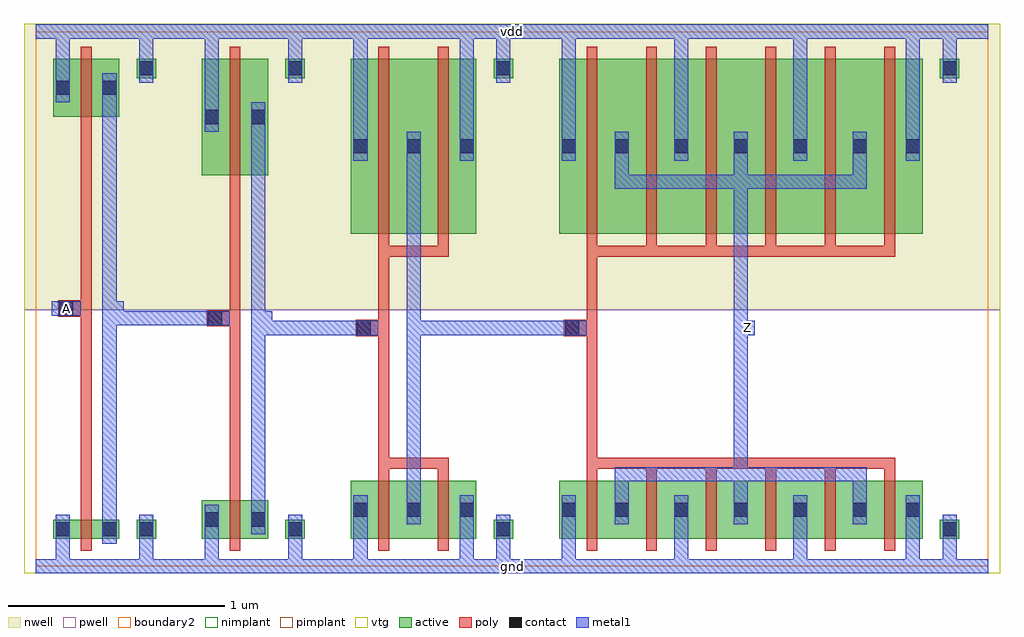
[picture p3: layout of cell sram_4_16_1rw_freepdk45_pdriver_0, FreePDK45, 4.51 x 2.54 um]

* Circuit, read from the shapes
.subckt sram_4_16_1rw_freepdk45_pdriver_0 A Z gnd vdd
M1 sram_4_16_1rw_freepdk45_pinv_6_1/A A gnd gnd nfet w=0.09u l=0.05u
M2 sram_4_16_1rw_freepdk45_pinv_7_2/A sram_4_16_1rw_freepdk45_pinv_6_1/A gnd gnd nfet w=0.18u l=0.05u
M3 sram_4_16_1rw_freepdk45_pinv_8_3/A sram_4_16_1rw_freepdk45_pinv_7_2/A gnd gnd nfet w=0.27u l=0.05u m=2
M4 Z sram_4_16_1rw_freepdk45_pinv_8_3/A gnd gnd nfet w=0.27u l=0.05u m=6
M5 sram_4_16_1rw_freepdk45_pinv_6_1/A A vdd vdd pfet w=0.27u l=0.05u
M6 sram_4_16_1rw_freepdk45_pinv_7_2/A sram_4_16_1rw_freepdk45_pinv_6_1/A vdd vdd pfet w=0.54u l=0.05u
M7 sram_4_16_1rw_freepdk45_pinv_8_3/A sram_4_16_1rw_freepdk45_pinv_7_2/A vdd vdd pfet w=0.81u l=0.05u m=2
M8 Z sram_4_16_1rw_freepdk45_pinv_8_3/A vdd vdd pfet w=0.81u l=0.05u m=6
.ends

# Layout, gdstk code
import gdstk
lib = gdstk.Library(unit=1e-6, precision=5e-10)
def R(c, l, rs):  # rectangles x0, y0, x1, y1
    for r in rs: c.add(gdstk.rectangle(r[:2], r[2:], *l))
def A(c, l, x, y, w, h, nx, ny, dx, dy):  # array of equal rectangles
    R(c, l, [(x+i*dx, y+j*dy, x+i*dx+w, y+j*dy+h) for i in range(nx) for j in range(ny)])
active = (1, 0)
pwell = (2, 0)
nwell = (3, 0)
nimplant = (4, 0)
pimplant = (5, 0)
vtg = (6, 0)
poly = (9, 0)
contact = (10, 0)
metal1 = (11, 0)
boundary2 = (239, 0)

sram_4_16_1rw_freepdk45_ = lib.new_cell('sram_4_16_1rw_freepdk45_contact_11')
R(sram_4_16_1rw_freepdk45_, active, [(0,0.0225,0.09,0.1125)])
R(sram_4_16_1rw_freepdk45_, nwell, [(-0.055,-0.0325,0.145,0.1675)])
R(sram_4_16_1rw_freepdk45_, pimplant, [(0,0.0225,0.09,0.1125)])
R(sram_4_16_1rw_freepdk45_, contact, [(0.0125,0.035,0.0775,0.1)])
R(sram_4_16_1rw_freepdk45_, metal1, [(0.0125,0,0.0775,0.135)])
R(sram_4_16_1rw_freepdk45_, boundary2, [(-0.055,-0.0325,0.145,0.1675)])

c_sram_4_16_1rw_freepdk45_ = lib.new_cell('sram_4_16_1rw_freepdk45_pmos_m1_w0_270_sm1_dm1_da_p')
R(c_sram_4_16_1rw_freepdk45_, active, [(0,0,0.305,0.27)])
R(c_sram_4_16_1rw_freepdk45_, nwell, [(-0.08,-0.08,0.385,0.35)])
R(c_sram_4_16_1rw_freepdk45_, pimplant, [(0,0,0.305,0.27)])
R(c_sram_4_16_1rw_freepdk45_, vtg, [(-0.08,-0.08,0.385,0.35)])
R(c_sram_4_16_1rw_freepdk45_, poly, [(0.1275,-0.055,0.1775,0.325), (0.1275,-0.055,0.1775,0.325)])
R(c_sram_4_16_1rw_freepdk45_, metal1, [(0.0125,0.0675,0.0775,0.2025), (0.2275,0.0675,0.2925,0.2025)])
R(c_sram_4_16_1rw_freepdk45_, boundary2, [(-0.08,-0.08,0.385,0.35)])
c_sram_4_16_1rw_freepdk45_.add(gdstk.Reference(sram_4_16_1rw_freepdk45_, (0,0.0675)))
c_sram_4_16_1rw_freepdk45_.add(gdstk.Reference(sram_4_16_1rw_freepdk45_, (0.215,0.0675)))
c_sram_4_16_1rw_freepdk45_.add(gdstk.Label('G', (0.1525,0.135), layer=9, texttype=0))
c_sram_4_16_1rw_freepdk45_.add(gdstk.Label('S', (0.045,0.135), layer=11, texttype=0))
c_sram_4_16_1rw_freepdk45_.add(gdstk.Label('D', (0.26,0.135), layer=11, texttype=0))

c_sram_4_16_1rw_freepdk45__ = lib.new_cell('sram_4_16_1rw_freepdk45_contact_10')
R(c_sram_4_16_1rw_freepdk45__, active, [(0,0.0225,0.09,0.1125)])
R(c_sram_4_16_1rw_freepdk45__, pwell, [(-0.055,-0.0325,0.145,0.1675)])
R(c_sram_4_16_1rw_freepdk45__, nimplant, [(0,0.0225,0.09,0.1125)])
R(c_sram_4_16_1rw_freepdk45__, contact, [(0.0125,0.035,0.0775,0.1)])
R(c_sram_4_16_1rw_freepdk45__, metal1, [(0.0125,0,0.0775,0.135)])
R(c_sram_4_16_1rw_freepdk45__, boundary2, [(-0.055,-0.0325,0.145,0.1675)])

c_sram_4_16_1rw_freepdk45___ = lib.new_cell('sram_4_16_1rw_freepdk45_nmos_m1_w0_090_sm1_dm1_da_p')
R(c_sram_4_16_1rw_freepdk45___, active, [(0,0,0.305,0.09)])
R(c_sram_4_16_1rw_freepdk45___, pwell, [(-0.08,-0.08,0.385,0.17)])
R(c_sram_4_16_1rw_freepdk45___, nimplant, [(0,0,0.305,0.09)])
R(c_sram_4_16_1rw_freepdk45___, vtg, [(-0.08,-0.08,0.385,0.17)])
R(c_sram_4_16_1rw_freepdk45___, poly, [(0.1275,-0.055,0.1775,0.145), (0.1275,-0.055,0.1775,0.145)])
R(c_sram_4_16_1rw_freepdk45___, metal1, [(0.0125,-0.0225,0.0775,0.1125), (0.2275,-0.0225,0.2925,0.1125)])
R(c_sram_4_16_1rw_freepdk45___, boundary2, [(-0.08,-0.08,0.385,0.17)])
c_sram_4_16_1rw_freepdk45___.add(gdstk.Reference(c_sram_4_16_1rw_freepdk45__, (0,-0.0225)))
c_sram_4_16_1rw_freepdk45___.add(gdstk.Reference(c_sram_4_16_1rw_freepdk45__, (0.215,-0.0225)))
c_sram_4_16_1rw_freepdk45___.add(gdstk.Label('G', (0.1525,0.045), layer=9, texttype=0))
c_sram_4_16_1rw_freepdk45___.add(gdstk.Label('S', (0.045,0.045), layer=11, texttype=0))
c_sram_4_16_1rw_freepdk45___.add(gdstk.Label('D', (0.26,0.045), layer=11, texttype=0))

c_sram_4_16_1rw_freepdk45____ = lib.new_cell('sram_4_16_1rw_freepdk45_contact_12')
R(c_sram_4_16_1rw_freepdk45____, active, [(0,0.0225,0.09,0.1125)])
R(c_sram_4_16_1rw_freepdk45____, nwell, [(-0.055,-0.0325,0.145,0.1675)])
R(c_sram_4_16_1rw_freepdk45____, nimplant, [(0,0.0225,0.09,0.1125)])
R(c_sram_4_16_1rw_freepdk45____, contact, [(0.0125,0.035,0.0775,0.1)])
R(c_sram_4_16_1rw_freepdk45____, metal1, [(0.0125,0,0.0775,0.135)])
R(c_sram_4_16_1rw_freepdk45____, boundary2, [(-0.055,-0.0325,0.145,0.1675)])

c_sram_4_16_1rw_freepdk45_____ = lib.new_cell('sram_4_16_1rw_freepdk45_contact_13')
R(c_sram_4_16_1rw_freepdk45_____, active, [(0,0.0225,0.09,0.1125)])
R(c_sram_4_16_1rw_freepdk45_____, pwell, [(-0.055,-0.0325,0.145,0.1675)])
R(c_sram_4_16_1rw_freepdk45_____, pimplant, [(0,0.0225,0.09,0.1125)])
R(c_sram_4_16_1rw_freepdk45_____, contact, [(0.0125,0.035,0.0775,0.1)])
R(c_sram_4_16_1rw_freepdk45_____, metal1, [(0.0125,0,0.0775,0.135)])
R(c_sram_4_16_1rw_freepdk45_____, boundary2, [(-0.055,-0.0325,0.145,0.1675)])

c_sram_4_16_1rw_freepdk45______ = lib.new_cell('sram_4_16_1rw_freepdk45_contact_14')
R(c_sram_4_16_1rw_freepdk45______, poly, [(0.03,0,0.105,0.075)])
R(c_sram_4_16_1rw_freepdk45______, contact, [(0.035,0.005,0.1,0.07)])
R(c_sram_4_16_1rw_freepdk45______, metal1, [(0,0.005,0.135,0.07)])
R(c_sram_4_16_1rw_freepdk45______, boundary2, [(0,0,0.135,0.075)])

c_sram_4_16_1rw_freepdk45_______ = lib.new_cell('sram_4_16_1rw_freepdk45_pinv_5')
R(c_sram_4_16_1rw_freepdk45_______, pwell, [(-0.055,-0.0325,0.7425,1.185)])
R(c_sram_4_16_1rw_freepdk45_______, nwell, [(-0.055,1.185,0.7425,2.505)])
R(c_sram_4_16_1rw_freepdk45_______, vtg, [(-0.055,-0.0325,0.7425,1.185), (-0.055,1.185,0.7425,2.505)])
R(c_sram_4_16_1rw_freepdk45_______, poly, [(0.2075,0.27,0.2575,2.02), (0.14,1.1525,0.2075,1.2275)])
R(c_sram_4_16_1rw_freepdk45_______, metal1, [(0,-0.0325,0.6875,0.0325), (0.0925,-0.0325,0.1575,0.1025), (0.4775,0,0.5425,0.17), (0.3075,0.1025,0.3725,2.2775), (0.0725,1.1575,0.2075,1.2225), (0.34,1.1575,0.405,1.2225), (0.0925,2.1425,0.1575,2.5025), (0.4775,2.3,0.5425,2.47), (0,2.4375,0.6875,2.5025)])
R(c_sram_4_16_1rw_freepdk45_______, boundary2, [(0,0,0.6875,2.47), (0,0,0.6875,2.47)])
c_sram_4_16_1rw_freepdk45_______.add(gdstk.Reference(c_sram_4_16_1rw_freepdk45_, (0.08,2.075)))
c_sram_4_16_1rw_freepdk45_______.add(gdstk.Reference(c_sram_4_16_1rw_freepdk45___, (0.08,0.125)))
c_sram_4_16_1rw_freepdk45_______.add(gdstk.Reference(c_sram_4_16_1rw_freepdk45____, (0.465,2.2325)))
c_sram_4_16_1rw_freepdk45_______.add(gdstk.Reference(c_sram_4_16_1rw_freepdk45_____, (0.465,0.1025)))
c_sram_4_16_1rw_freepdk45_______.add(gdstk.Reference(c_sram_4_16_1rw_freepdk45______, (0.0725,1.1525)))
c_sram_4_16_1rw_freepdk45_______.add(gdstk.Label('A', (0.14,1.19), layer=11, texttype=0))
c_sram_4_16_1rw_freepdk45_______.add(gdstk.Label('Z', (0.3725,1.19), layer=11, texttype=0))
c_sram_4_16_1rw_freepdk45_______.add(gdstk.Label('gnd', (0.344,0), layer=11, texttype=0))
c_sram_4_16_1rw_freepdk45_______.add(gdstk.Label('vdd', (0.344,2.47), layer=11, texttype=0))

c_sram_4_16_1rw_freepdk45________ = lib.new_cell('sram_4_16_1rw_freepdk45_pmos_m1_w0_540_sm1_dm1_da_p')
R(c_sram_4_16_1rw_freepdk45________, active, [(0,0,0.305,0.54)])
R(c_sram_4_16_1rw_freepdk45________, nwell, [(-0.08,-0.08,0.385,0.62)])
R(c_sram_4_16_1rw_freepdk45________, pimplant, [(0,0,0.305,0.54)])
R(c_sram_4_16_1rw_freepdk45________, vtg, [(-0.08,-0.08,0.385,0.62)])
R(c_sram_4_16_1rw_freepdk45________, poly, [(0.1275,-0.055,0.1775,0.595), (0.1275,-0.055,0.1775,0.595)])
R(c_sram_4_16_1rw_freepdk45________, metal1, [(0.0125,0.2025,0.0775,0.3375), (0.2275,0.2025,0.2925,0.3375)])
R(c_sram_4_16_1rw_freepdk45________, boundary2, [(-0.08,-0.08,0.385,0.62)])
c_sram_4_16_1rw_freepdk45________.add(gdstk.Reference(sram_4_16_1rw_freepdk45_, (0,0.2025)))
c_sram_4_16_1rw_freepdk45________.add(gdstk.Reference(sram_4_16_1rw_freepdk45_, (0.215,0.2025)))
c_sram_4_16_1rw_freepdk45________.add(gdstk.Label('G', (0.1525,0.27), layer=9, texttype=0))
c_sram_4_16_1rw_freepdk45________.add(gdstk.Label('S', (0.045,0.27), layer=11, texttype=0))
c_sram_4_16_1rw_freepdk45________.add(gdstk.Label('D', (0.26,0.27), layer=11, texttype=0))

c_sram_4_16_1rw_freepdk45_________ = lib.new_cell('sram_4_16_1rw_freepdk45_nmos_m1_w0_180_sm1_dm1_da_p')
R(c_sram_4_16_1rw_freepdk45_________, active, [(0,0,0.305,0.18)])
R(c_sram_4_16_1rw_freepdk45_________, pwell, [(-0.08,-0.08,0.385,0.26)])
R(c_sram_4_16_1rw_freepdk45_________, nimplant, [(0,0,0.305,0.18)])
R(c_sram_4_16_1rw_freepdk45_________, vtg, [(-0.08,-0.08,0.385,0.26)])
R(c_sram_4_16_1rw_freepdk45_________, poly, [(0.1275,-0.055,0.1775,0.235), (0.1275,-0.055,0.1775,0.235)])
R(c_sram_4_16_1rw_freepdk45_________, metal1, [(0.0125,0.0225,0.0775,0.1575), (0.2275,0.0225,0.2925,0.1575)])
R(c_sram_4_16_1rw_freepdk45_________, boundary2, [(-0.08,-0.08,0.385,0.26)])
c_sram_4_16_1rw_freepdk45_________.add(gdstk.Reference(c_sram_4_16_1rw_freepdk45__, (0,0.0225)))
c_sram_4_16_1rw_freepdk45_________.add(gdstk.Reference(c_sram_4_16_1rw_freepdk45__, (0.215,0.0225)))
c_sram_4_16_1rw_freepdk45_________.add(gdstk.Label('G', (0.1525,0.09), layer=9, texttype=0))
c_sram_4_16_1rw_freepdk45_________.add(gdstk.Label('S', (0.045,0.09), layer=11, texttype=0))
c_sram_4_16_1rw_freepdk45_________.add(gdstk.Label('D', (0.26,0.09), layer=11, texttype=0))

c_sram_4_16_1rw_freepdk45__________ = lib.new_cell('sram_4_16_1rw_freepdk45_pinv_6')
R(c_sram_4_16_1rw_freepdk45__________, pwell, [(-0.055,-0.0325,0.7425,1.185)])
R(c_sram_4_16_1rw_freepdk45__________, nwell, [(-0.055,1.185,0.7425,2.505)])
R(c_sram_4_16_1rw_freepdk45__________, vtg, [(-0.055,-0.0325,0.7425,1.185), (-0.055,1.185,0.7425,2.505)])
R(c_sram_4_16_1rw_freepdk45__________, poly, [(0.2075,0.36,0.2575,1.75), (0.14,1.1075,0.2075,1.1825)])
R(c_sram_4_16_1rw_freepdk45__________, metal1, [(0,-0.0325,0.6875,0.0325), (0.0925,-0.0325,0.1575,0.1475), (0.4775,0,0.5425,0.17), (0.3075,0.1475,0.3725,2.1425), (0.0725,1.1125,0.2075,1.1775), (0.34,1.1125,0.405,1.1775), (0.0925,2.0075,0.1575,2.5025), (0.4775,2.3,0.5425,2.47), (0,2.4375,0.6875,2.5025)])
R(c_sram_4_16_1rw_freepdk45__________, boundary2, [(0,0,0.6875,2.47), (0,0,0.6875,2.47)])
c_sram_4_16_1rw_freepdk45__________.add(gdstk.Reference(c_sram_4_16_1rw_freepdk45________, (0.08,1.805)))
c_sram_4_16_1rw_freepdk45__________.add(gdstk.Reference(c_sram_4_16_1rw_freepdk45_________, (0.08,0.125)))
c_sram_4_16_1rw_freepdk45__________.add(gdstk.Reference(c_sram_4_16_1rw_freepdk45____, (0.465,2.2325)))
c_sram_4_16_1rw_freepdk45__________.add(gdstk.Reference(c_sram_4_16_1rw_freepdk45_____, (0.465,0.1025)))
c_sram_4_16_1rw_freepdk45__________.add(gdstk.Reference(c_sram_4_16_1rw_freepdk45______, (0.0725,1.1075)))
c_sram_4_16_1rw_freepdk45__________.add(gdstk.Label('A', (0.14,1.145), layer=11, texttype=0))
c_sram_4_16_1rw_freepdk45__________.add(gdstk.Label('Z', (0.3725,1.145), layer=11, texttype=0))
c_sram_4_16_1rw_freepdk45__________.add(gdstk.Label('gnd', (0.344,0), layer=11, texttype=0))
c_sram_4_16_1rw_freepdk45__________.add(gdstk.Label('vdd', (0.344,2.47), layer=11, texttype=0))

c_sram_4_16_1rw_freepdk45___________ = lib.new_cell('sram_4_16_1rw_freepdk45_pmos_m2_w0_810_sm1_dm1_da_p')
R(c_sram_4_16_1rw_freepdk45___________, active, [(0,0,0.58,0.81)])
R(c_sram_4_16_1rw_freepdk45___________, nwell, [(-0.08,-0.08,0.66,0.89)])
R(c_sram_4_16_1rw_freepdk45___________, pimplant, [(0,0,0.58,0.81)])
R(c_sram_4_16_1rw_freepdk45___________, vtg, [(-0.08,-0.08,0.66,0.89)])
R(c_sram_4_16_1rw_freepdk45___________, poly, [(0.1275,-0.105,0.4525,-0.055), (0.1275,-0.055,0.1775,0.865), (0.4025,-0.055,0.4525,0.865)])
A(c_sram_4_16_1rw_freepdk45___________, metal1, 0.0125, 0.3375, 0.065, 0.135, 3, 1, 0.245, 0)
R(c_sram_4_16_1rw_freepdk45___________, boundary2, [(-0.08,-0.105,0.66,0.89)])
c_sram_4_16_1rw_freepdk45___________.add(gdstk.Reference(sram_4_16_1rw_freepdk45_, (0,0.3375)))
c_sram_4_16_1rw_freepdk45___________.add(gdstk.Reference(sram_4_16_1rw_freepdk45_, (0.245,0.3375)))
c_sram_4_16_1rw_freepdk45___________.add(gdstk.Reference(sram_4_16_1rw_freepdk45_, (0.49,0.3375)))
c_sram_4_16_1rw_freepdk45___________.add(gdstk.Label('G', (0.29,-0.08), layer=9, texttype=0))
c_sram_4_16_1rw_freepdk45___________.add(gdstk.Label('S', (0.045,0.405), layer=11, texttype=0))
c_sram_4_16_1rw_freepdk45___________.add(gdstk.Label('S', (0.535,0.405), layer=11, texttype=0))
c_sram_4_16_1rw_freepdk45___________.add(gdstk.Label('D', (0.29,0.405), layer=11, texttype=0))

c_sram_4_16_1rw_freepdk45____________ = lib.new_cell('sram_4_16_1rw_freepdk45_nmos_m2_w0_270_sm1_dm1_da_p')
R(c_sram_4_16_1rw_freepdk45____________, active, [(0,0,0.58,0.27)])
R(c_sram_4_16_1rw_freepdk45____________, pwell, [(-0.08,-0.08,0.66,0.35)])
R(c_sram_4_16_1rw_freepdk45____________, nimplant, [(0,0,0.58,0.27)])
R(c_sram_4_16_1rw_freepdk45____________, vtg, [(-0.08,-0.08,0.66,0.35)])
R(c_sram_4_16_1rw_freepdk45____________, poly, [(0.1275,-0.055,0.1775,0.325), (0.4025,-0.055,0.4525,0.325), (0.1275,0.325,0.4525,0.375)])
A(c_sram_4_16_1rw_freepdk45____________, metal1, 0.0125, 0.0675, 0.065, 0.135, 3, 1, 0.245, 0)
R(c_sram_4_16_1rw_freepdk45____________, boundary2, [(-0.08,-0.08,0.66,0.375)])
c_sram_4_16_1rw_freepdk45____________.add(gdstk.Reference(c_sram_4_16_1rw_freepdk45__, (0,0.0675)))
c_sram_4_16_1rw_freepdk45____________.add(gdstk.Reference(c_sram_4_16_1rw_freepdk45__, (0.245,0.0675)))
c_sram_4_16_1rw_freepdk45____________.add(gdstk.Reference(c_sram_4_16_1rw_freepdk45__, (0.49,0.0675)))
c_sram_4_16_1rw_freepdk45____________.add(gdstk.Label('G', (0.29,0.35), layer=9, texttype=0))
c_sram_4_16_1rw_freepdk45____________.add(gdstk.Label('S', (0.045,0.135), layer=11, texttype=0))
c_sram_4_16_1rw_freepdk45____________.add(gdstk.Label('S', (0.535,0.135), layer=11, texttype=0))
c_sram_4_16_1rw_freepdk45____________.add(gdstk.Label('D', (0.29,0.135), layer=11, texttype=0))

c_sram_4_16_1rw_freepdk45_____________ = lib.new_cell('sram_4_16_1rw_freepdk45_pinv_7')
R(c_sram_4_16_1rw_freepdk45_____________, pwell, [(-0.055,-0.0325,1.0175,1.185)])
R(c_sram_4_16_1rw_freepdk45_____________, nwell, [(-0.055,1.185,1.0175,2.505)])
R(c_sram_4_16_1rw_freepdk45_____________, vtg, [(-0.055,-0.0325,1.0175,1.185), (-0.055,1.185,1.0175,2.505)])
R(c_sram_4_16_1rw_freepdk45_____________, poly, [(0.2075,0.5,0.2575,1.43), (0.14,1.0625,0.2075,1.1375)])
R(c_sram_4_16_1rw_freepdk45_____________, metal1, [(0,-0.0325,0.9625,0.0325), (0.0925,-0.0325,0.1575,0.1925), (0.5825,-0.0325,0.6475,0.1925), (0.7525,0,0.8175,0.17), (0.3375,0.1925,0.4025,2.0075), (0.0725,1.0675,0.2075,1.1325), (0.37,1.0675,0.435,1.1325), (0.0925,1.8725,0.1575,2.5025), (0.5825,1.8725,0.6475,2.5025), (0.7525,2.3,0.8175,2.47), (0,2.4375,0.9625,2.5025)])
R(c_sram_4_16_1rw_freepdk45_____________, boundary2, [(0,0,0.9625,2.47), (0,0,0.9625,2.47)])
c_sram_4_16_1rw_freepdk45_____________.add(gdstk.Reference(c_sram_4_16_1rw_freepdk45___________, (0.08,1.535)))
c_sram_4_16_1rw_freepdk45_____________.add(gdstk.Reference(c_sram_4_16_1rw_freepdk45____________, (0.08,0.125)))
c_sram_4_16_1rw_freepdk45_____________.add(gdstk.Reference(c_sram_4_16_1rw_freepdk45____, (0.74,2.2325)))
c_sram_4_16_1rw_freepdk45_____________.add(gdstk.Reference(c_sram_4_16_1rw_freepdk45_____, (0.74,0.1025)))
c_sram_4_16_1rw_freepdk45_____________.add(gdstk.Reference(c_sram_4_16_1rw_freepdk45______, (0.0725,1.0625)))
c_sram_4_16_1rw_freepdk45_____________.add(gdstk.Label('A', (0.14,1.1), layer=11, texttype=0))
c_sram_4_16_1rw_freepdk45_____________.add(gdstk.Label('Z', (0.4025,1.1), layer=11, texttype=0))
c_sram_4_16_1rw_freepdk45_____________.add(gdstk.Label('gnd', (0.481,0), layer=11, texttype=0))
c_sram_4_16_1rw_freepdk45_____________.add(gdstk.Label('vdd', (0.481,2.47), layer=11, texttype=0))

c_sram_4_16_1rw_freepdk45______________ = lib.new_cell('sram_4_16_1rw_freepdk45_pmos_m6_w0_810_sm1_dm1_da_p')
R(c_sram_4_16_1rw_freepdk45______________, active, [(0,0,1.68,0.81)])
R(c_sram_4_16_1rw_freepdk45______________, nwell, [(-0.08,-0.08,1.76,0.89)])
R(c_sram_4_16_1rw_freepdk45______________, pimplant, [(0,0,1.68,0.81)])
R(c_sram_4_16_1rw_freepdk45______________, vtg, [(-0.08,-0.08,1.76,0.89)])
A(c_sram_4_16_1rw_freepdk45______________, poly, 0.1275, -0.055, 0.05, 0.92, 6, 1, 0.275, 0)
R(c_sram_4_16_1rw_freepdk45______________, poly, [(0.1275,-0.105,1.5525,-0.055)])
A(c_sram_4_16_1rw_freepdk45______________, metal1, 0.2575, 0.24, 0.065, 0.165, 3, 1, 0.55, 0)
R(c_sram_4_16_1rw_freepdk45______________, metal1, [(0.2575,0.2075,1.4225,0.2725), (0.0125,0.3375,0.0775,0.4725), (0.5325,0.3375,0.5975,0.4725), (1.0825,0.3375,1.1475,0.4725), (1.6025,0.3375,1.6675,0.4725)])
R(c_sram_4_16_1rw_freepdk45______________, boundary2, [(-0.08,-0.105,1.76,0.89)])
c_sram_4_16_1rw_freepdk45______________.add(gdstk.Reference(sram_4_16_1rw_freepdk45_, (0,0.3375)))
c_sram_4_16_1rw_freepdk45______________.add(gdstk.Reference(sram_4_16_1rw_freepdk45_, (0.245,0.3375)))
c_sram_4_16_1rw_freepdk45______________.add(gdstk.Reference(sram_4_16_1rw_freepdk45_, (0.52,0.3375)))
c_sram_4_16_1rw_freepdk45______________.add(gdstk.Reference(sram_4_16_1rw_freepdk45_, (0.795,0.3375)))
c_sram_4_16_1rw_freepdk45______________.add(gdstk.Reference(sram_4_16_1rw_freepdk45_, (1.07,0.3375)))
c_sram_4_16_1rw_freepdk45______________.add(gdstk.Reference(sram_4_16_1rw_freepdk45_, (1.345,0.3375)))
c_sram_4_16_1rw_freepdk45______________.add(gdstk.Reference(sram_4_16_1rw_freepdk45_, (1.59,0.3375)))
c_sram_4_16_1rw_freepdk45______________.add(gdstk.Label('G', (0.84,-0.08), layer=9, texttype=0))
c_sram_4_16_1rw_freepdk45______________.add(gdstk.Label('S', (1.115,0.405), layer=11, texttype=0))
c_sram_4_16_1rw_freepdk45______________.add(gdstk.Label('S', (1.635,0.405), layer=11, texttype=0))
c_sram_4_16_1rw_freepdk45______________.add(gdstk.Label('S', (0.045,0.405), layer=11, texttype=0))
c_sram_4_16_1rw_freepdk45______________.add(gdstk.Label('S', (0.565,0.405), layer=11, texttype=0))
c_sram_4_16_1rw_freepdk45______________.add(gdstk.Label('D', (0.84,0.24), layer=11, texttype=0))

c_sram_4_16_1rw_freepdk45_______________ = lib.new_cell('sram_4_16_1rw_freepdk45_nmos_m6_w0_270_sm1_dm1_da_p')
R(c_sram_4_16_1rw_freepdk45_______________, active, [(0,0,1.68,0.27)])
R(c_sram_4_16_1rw_freepdk45_______________, pwell, [(-0.08,-0.08,1.76,0.35)])
R(c_sram_4_16_1rw_freepdk45_______________, nimplant, [(0,0,1.68,0.27)])
R(c_sram_4_16_1rw_freepdk45_______________, vtg, [(-0.08,-0.08,1.76,0.35)])
A(c_sram_4_16_1rw_freepdk45_______________, poly, 0.1275, -0.055, 0.05, 0.38, 6, 1, 0.275, 0)
R(c_sram_4_16_1rw_freepdk45_______________, poly, [(0.1275,0.325,1.5525,0.375)])
A(c_sram_4_16_1rw_freepdk45_______________, metal1, 0.2575, 0.135, 0.065, 0.165, 3, 1, 0.55, 0)
R(c_sram_4_16_1rw_freepdk45_______________, metal1, [(0.0125,0.0675,0.0775,0.2025), (0.5325,0.0675,0.5975,0.2025), (1.0825,0.0675,1.1475,0.2025), (1.6025,0.0675,1.6675,0.2025), (0.2575,0.2675,1.4225,0.3325)])
R(c_sram_4_16_1rw_freepdk45_______________, boundary2, [(-0.08,-0.08,1.76,0.375)])
c_sram_4_16_1rw_freepdk45_______________.add(gdstk.Reference(c_sram_4_16_1rw_freepdk45__, (0,0.0675)))
c_sram_4_16_1rw_freepdk45_______________.add(gdstk.Reference(c_sram_4_16_1rw_freepdk45__, (0.245,0.0675)))
c_sram_4_16_1rw_freepdk45_______________.add(gdstk.Reference(c_sram_4_16_1rw_freepdk45__, (0.52,0.0675)))
c_sram_4_16_1rw_freepdk45_______________.add(gdstk.Reference(c_sram_4_16_1rw_freepdk45__, (0.795,0.0675)))
c_sram_4_16_1rw_freepdk45_______________.add(gdstk.Reference(c_sram_4_16_1rw_freepdk45__, (1.07,0.0675)))
c_sram_4_16_1rw_freepdk45_______________.add(gdstk.Reference(c_sram_4_16_1rw_freepdk45__, (1.345,0.0675)))
c_sram_4_16_1rw_freepdk45_______________.add(gdstk.Reference(c_sram_4_16_1rw_freepdk45__, (1.59,0.0675)))
c_sram_4_16_1rw_freepdk45_______________.add(gdstk.Label('G', (0.84,0.35), layer=9, texttype=0))
c_sram_4_16_1rw_freepdk45_______________.add(gdstk.Label('S', (1.115,0.135), layer=11, texttype=0))
c_sram_4_16_1rw_freepdk45_______________.add(gdstk.Label('S', (0.045,0.135), layer=11, texttype=0))
c_sram_4_16_1rw_freepdk45_______________.add(gdstk.Label('S', (1.635,0.135), layer=11, texttype=0))
c_sram_4_16_1rw_freepdk45_______________.add(gdstk.Label('S', (0.565,0.135), layer=11, texttype=0))
c_sram_4_16_1rw_freepdk45_______________.add(gdstk.Label('D', (0.84,0.3), layer=11, texttype=0))

c_sram_4_16_1rw_freepdk45________________ = lib.new_cell('sram_4_16_1rw_freepdk45_pinv_8')
R(c_sram_4_16_1rw_freepdk45________________, pwell, [(-0.055,-0.0325,2.1175,1.185)])
R(c_sram_4_16_1rw_freepdk45________________, nwell, [(-0.055,1.185,2.1175,2.505)])
R(c_sram_4_16_1rw_freepdk45________________, vtg, [(-0.055,-0.0325,2.1175,1.185), (-0.055,1.185,2.1175,2.505)])
R(c_sram_4_16_1rw_freepdk45________________, poly, [(0.2075,0.5,0.2575,1.43), (0.14,1.0625,0.2075,1.1375)])
R(c_sram_4_16_1rw_freepdk45________________, metal1, [(0,-0.0325,2.0625,0.0325), (0.0925,-0.0325,0.1575,0.1925), (0.6125,-0.0325,0.6775,0.1925), (1.1625,-0.0325,1.2275,0.1925), (1.6825,-0.0325,1.7475,0.1925), (1.8525,0,1.9175,0.17), (0.8875,0.3925,0.9525,1.8075), (0.0725,1.0675,0.2075,1.1325), (0.92,1.0675,0.985,1.1325), (0.0925,1.8725,0.1575,2.5025), (0.6125,1.8725,0.6775,2.5025), (1.1625,1.8725,1.2275,2.5025), (1.6825,1.8725,1.7475,2.5025), (1.8525,2.3,1.9175,2.47), (0,2.4375,2.0625,2.5025)])
R(c_sram_4_16_1rw_freepdk45________________, boundary2, [(0,0,2.0625,2.47), (0,0,2.0625,2.47)])
c_sram_4_16_1rw_freepdk45________________.add(gdstk.Reference(c_sram_4_16_1rw_freepdk45______________, (0.08,1.535)))
c_sram_4_16_1rw_freepdk45________________.add(gdstk.Reference(c_sram_4_16_1rw_freepdk45_______________, (0.08,0.125)))
c_sram_4_16_1rw_freepdk45________________.add(gdstk.Reference(c_sram_4_16_1rw_freepdk45____, (1.84,2.2325)))
c_sram_4_16_1rw_freepdk45________________.add(gdstk.Reference(c_sram_4_16_1rw_freepdk45_____, (1.84,0.1025)))
c_sram_4_16_1rw_freepdk45________________.add(gdstk.Reference(c_sram_4_16_1rw_freepdk45______, (0.0725,1.0625)))
c_sram_4_16_1rw_freepdk45________________.add(gdstk.Label('A', (0.14,1.1), layer=11, texttype=0))
c_sram_4_16_1rw_freepdk45________________.add(gdstk.Label('Z', (0.9525,1.1), layer=11, texttype=0))
c_sram_4_16_1rw_freepdk45________________.add(gdstk.Label('gnd', (1.031,0), layer=11, texttype=0))
c_sram_4_16_1rw_freepdk45________________.add(gdstk.Label('vdd', (1.031,2.47), layer=11, texttype=0))

c_sram_4_16_1rw_freepdk45_________________ = lib.new_cell('sram_4_16_1rw_freepdk45_pdriver_0')
R(c_sram_4_16_1rw_freepdk45_________________, pwell, [(-0.055,-0.0325,4.455,1.185)])
R(c_sram_4_16_1rw_freepdk45_________________, nwell, [(-0.055,1.185,4.455,2.505)])
R(c_sram_4_16_1rw_freepdk45_________________, vtg, [(-0.055,-0.0325,4.455,1.185), (-0.055,1.185,4.455,2.505)])
R(c_sram_4_16_1rw_freepdk45_________________, metal1, [(0,-0.0325,4.4,0.0325), (1.0275,1.0675,1.0925,1.1325), (1.06,1.0675,1.515,1.1325), (1.7775,1.0675,2.4775,1.1325), (3.2575,1.0675,3.3225,1.1325), (1.0275,1.1,1.0925,1.145), (0.34,1.1125,0.405,1.1775), (0.3725,1.1125,0.8275,1.1775), (0.34,1.145,0.405,1.19), (0.0725,1.1575,0.2075,1.2225), (0,2.4375,4.4,2.5025)])
R(c_sram_4_16_1rw_freepdk45_________________, boundary2, [(0,0,4.4,2.47), (0,0,4.4,2.47)])
c_sram_4_16_1rw_freepdk45_________________.add(gdstk.Reference(c_sram_4_16_1rw_freepdk45_______, (0,0)))
c_sram_4_16_1rw_freepdk45_________________.add(gdstk.Reference(c_sram_4_16_1rw_freepdk45__________, (0.6875,0)))
c_sram_4_16_1rw_freepdk45_________________.add(gdstk.Reference(c_sram_4_16_1rw_freepdk45_____________, (1.375,0)))
c_sram_4_16_1rw_freepdk45_________________.add(gdstk.Reference(c_sram_4_16_1rw_freepdk45________________, (2.3375,0)))
c_sram_4_16_1rw_freepdk45_________________.add(gdstk.Label('Z', (3.29,1.1), layer=11, texttype=0))
c_sram_4_16_1rw_freepdk45_________________.add(gdstk.Label('A', (0.14,1.19), layer=11, texttype=0))
c_sram_4_16_1rw_freepdk45_________________.add(gdstk.Label('gnd', (2.2,0), layer=11, texttype=0))
c_sram_4_16_1rw_freepdk45_________________.add(gdstk.Label('vdd', (2.2,2.47), layer=11, texttype=0))

lib.write_gds('sram_4_16_1rw_freepdk45_pdriver_0.gds')
